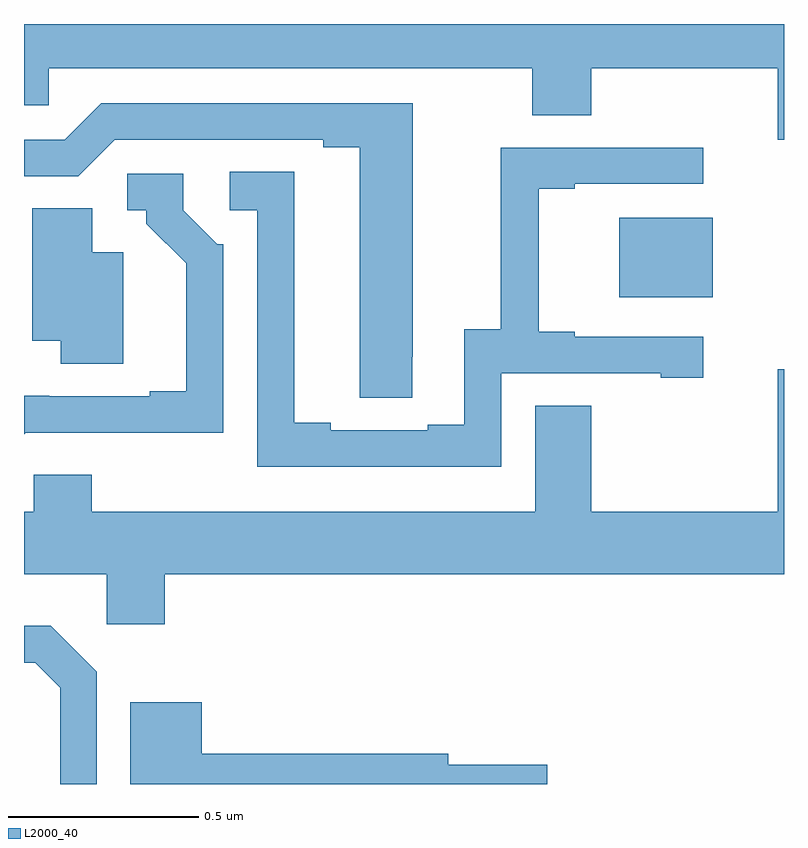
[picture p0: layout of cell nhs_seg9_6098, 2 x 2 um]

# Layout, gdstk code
import gdstk
lib = gdstk.Library(unit=1e-6, precision=1e-09)
def R(c, l, rs):  # rectangles x0, y0, x1, y1
    for r in rs: c.add(gdstk.rectangle(r[:2], r[2:], *l))
def P(c, l, *ps):  # polygons
    for p in ps: c.add(gdstk.Polygon(p, *l))
L2000_40 = (2000, 40)

nhs_seg9_6098 = lib.new_cell('nhs_seg9_6098')
R(nhs_seg9_6098, L2000_40, [(188.567,1231.781,188.812,1231.99)])
P(nhs_seg9_6098, L2000_40, [(189,1232.5),(187,1232.5),(187,1232.286),(187.065,1232.286),(187.065,1232.384),(188.338,1232.384),(188.338,1232.26),(188.493,1232.26),(188.493,1232.384),(188.984,1232.384),(188.984,1232.196),(189,1232.196)],
  [(188.022,1231.624),(188.023,1231.624),(188.023,1232.292),(187.203,1232.292),(187.107,1232.196),(187,1232.196),(187,1232.1),(187.143,1232.1),(187.239,1232.196),(187.787,1232.196),(187.787,1232.176),(187.883,1232.176),(187.883,1231.516),(188.022,1231.516)],
  [(188.256,1231.581),(188.675,1231.581),(188.675,1231.569),(188.788,1231.569),(188.788,1231.677),(188.449,1231.677),(188.449,1231.69),(188.354,1231.69),(188.354,1232.067),(188.449,1232.067),(188.449,1232.079),(188.788,1232.079),(188.788,1232.175),(188.254,1232.175),(188.254,1231.697),(188.159,1231.697),(188.159,1231.446),(188.063,1231.446),(188.063,1231.431),(187.807,1231.431),(187.807,1231.451),(187.711,1231.451),(187.711,1232.111),(187.542,1232.111),(187.542,1232.01),(187.614,1232.01),(187.614,1231.335),(188.256,1231.335)],
  [(187.005,1231.425),(187.261,1231.425),(187.261,1231.424),(187.524,1231.424),(187.524,1231.92),(187.509,1231.92),(187.419,1232.01),(187.419,1232.106),(187.272,1232.106),(187.272,1232.01),(187.322,1232.01),(187.322,1231.975),(187.427,1231.87),(187.427,1231.534),(187.331,1231.534),(187.331,1231.521),(187.066,1231.521),(187.066,1231.522),(187,1231.522),(187,1231.42)],
  [(187.261,1231.9),(187.18,1231.9),(187.18,1232.015),(187.022,1232.015),(187.022,1231.667),(187.097,1231.667),(187.097,1231.606),(187.261,1231.606)],
  [(187.178,1231.314),(187.026,1231.314),(187.026,1231.216),(187,1231.216),(187,1231.052),(187.218,1231.052),(187.218,1230.921),(187.37,1230.921),(187.37,1231.052),(189,1231.052),(189,1231.591),(188.984,1231.591),(188.984,1231.216),(188.493,1231.216),(188.493,1231.496),(188.345,1231.496),(188.345,1231.216),(187.178,1231.216)],
  [(187.191,1230.795),(187.07,1230.916),(187,1230.916),(187,1230.819),(187.029,1230.819),(187.095,1230.753),(187.095,1230.5),(187.191,1230.5)],
  [(188.377,1230.551),(188.116,1230.551),(188.116,1230.58),(187.468,1230.58),(187.468,1230.715),(187.28,1230.715),(187.28,1230.5),(188.377,1230.5)])

lib.write_gds('nhs_seg9_6098.gds')
